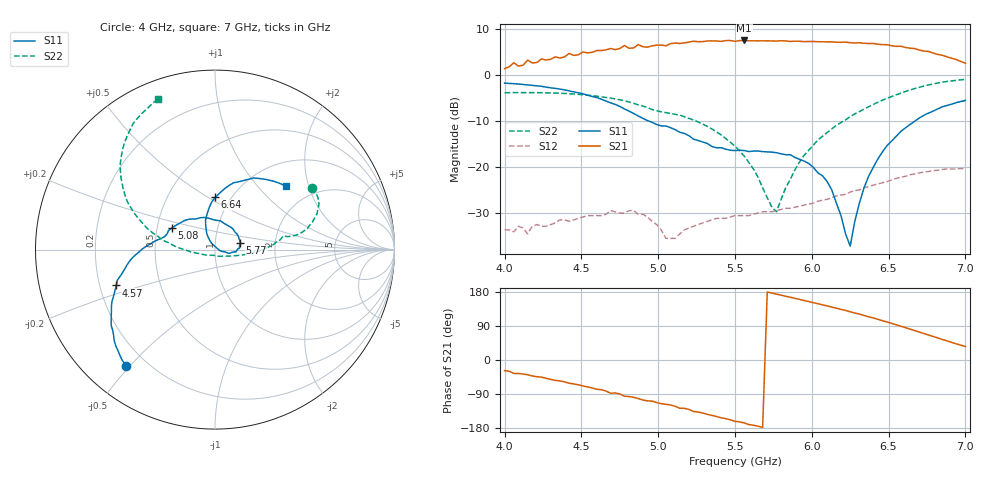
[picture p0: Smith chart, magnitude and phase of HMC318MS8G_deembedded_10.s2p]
!Hittite Microwave Corporation
!12 Elizabeth Drive
!Chelmsford, MA 01824
!Tel: 978-250-3343
!Fax: 978-250-3373
!Device: HMC318MS8G, 5-6 GHz LNA with AGC in 8-lead Grounded Base Surface Mount Plastic Package
!Misc: Room Temp Vdd = +3V Idd = 5.7 mA. Vctl =1.0 V	 , DEEMBEDDED TO THE PINS OF THE DEVICE
# MHZ S MA R 50
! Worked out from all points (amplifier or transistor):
!   101 points, 4 GHz to 7 GHz, reference 50 ohm
!   highest |S21| = 7.5 dB at 5.56 GHz (marker M1)
!   |S21| within 3 dB of that: 4.485 GHz to 6.818 GHz (2.333 GHz wide, 41.3 % of centre) (the widest 1 of 2)
!   unconditionally stable (mu >= 1): start of sweep to 6.825 GHz
!   at 4.48 GHz: K = 4.31, MAG = 8.4 dB, |S12| = -31.1 dB
!   at 5.5 GHz: K = 6.89, MAG = 7.5 dB, |S12| = -30.5 dB
!   at 7 GHz: K = 0.65, MSG = 11.4 dB, |S12| = -20.3 dB
!   S11 on the Smith chart (normalised r, x): 4 GHz: 0.13, -0.49; 4.57 GHz: 0.27, -0.16; 5.08 GHz: 0.60, +0.15; 5.77 GHz: 1.32, +0.10; 6.64 GHz: 0.85, +0.54; 7 GHz: 1.47, +1.44
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4000  0.816 -127.4  1.172 -27.9  0.021 102.9  0.641 32.5
4150  0.78 -133.9  1.447 -39.1  0.019 99.4  0.644 28.9
4510  0.625 -155.0  1.774 -68.5  0.029 84.0  0.61 20.6
4570  0.585 -160.1  1.758 -73.8  0.03 83.1  0.598 19.0
4750  0.457 -174.9  1.933 -89.5  0.032 65.7  0.538 13.8
4780  0.429 -177.6  2.087 -95.6  0.032 62.4  0.526 12.6
4810  0.406 179.7  1.947 -96.5  0.034 55.3  0.51 11.9
4870  0.36 174.9  2.137 -101.7  0.031 47.4  0.475 10.5
5020  0.281 162.1  2.105 -115.2  0.021 29.6  0.399 10.7
5080  0.269 153.5  2.181 -118.6  0.017 41.3  0.383 10.6
5230  0.202 122.3  2.321 -135.9  0.023 52.6  0.326 4.9
5500  0.152 58.0  2.316 -161.9  0.03 25.5  0.169 -9.5
5560  0.152 47.8  2.365 -166.1  0.03 21.1  0.132 -14.3
5770  0.144 15.3  2.329 173.9  0.034 -1.5  0.033 -107.4
6010  0.1 -8.2  2.305 151.4  0.041 -26.3  0.174 179.7
6130  0.057 -13.2  2.284 139.6  0.047 -39.7  0.261 171.6
6250  0.014 67.5  2.237 127.2  0.054 -53.4  0.354 165.3
6340  0.06 119.5  2.204 117.5  0.06 -63.7  0.427 160.2
6520  0.193 104.2  2.071 96.6  0.073 -85.9  0.584 149.0
6640  0.291 89.7  1.948 81.4  0.083 -101.5  0.688 140.0
6850  0.453 61.7  1.634 53.9  0.095 -129.3  0.838 123.0
7000  0.53 41.7  1.34 35.5  0.097 -148.1  0.896 110.7
